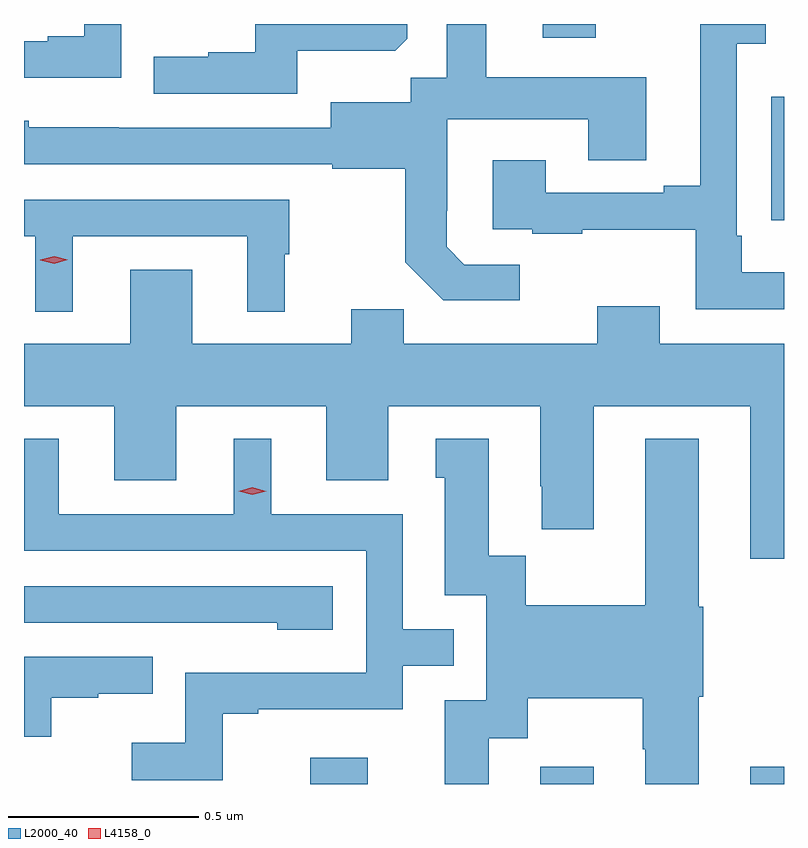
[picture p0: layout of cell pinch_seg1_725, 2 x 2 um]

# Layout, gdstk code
import gdstk
lib = gdstk.Library(unit=1e-6, precision=1e-09)
def R(c, l, rs):  # rectangles x0, y0, x1, y1
    for r in rs: c.add(gdstk.rectangle(r[:2], r[2:], *l))
def P(c, l, *ps):  # polygons
    for p in ps: c.add(gdstk.Polygon(p, *l))
L2000_40 = (2000, 40)
L4158_0 = (4158, 0)

pinch_seg1_725 = lib.new_cell('pinch_seg1_725')
R(pinch_seg1_725, L2000_40, [(670.997,572.05,671.149,572.119), (671.603,572.05,671.743,572.095), (672.155,572.05,672.244,572.095), (672.21,573.533,672.244,573.859), (671.609,574.014,671.749,574.05)])
P(pinch_seg1_725, L2000_40, [(670.5,574.05),(670.402,574.05),(670.402,574.018),(670.307,574.018),(670.307,574.005),(670.244,574.005),(670.244,573.909),(670.5,573.909)],
  [(672.244,573.397),(672.133,573.397),(672.133,573.493),(672.12,573.493),(672.12,573.998),(672.196,573.998),(672.196,574.05),(672.023,574.05),(672.023,573.625),(671.927,573.625),(671.927,573.606),(671.617,573.606),(671.617,573.691),(671.477,573.691),(671.477,573.51),(671.581,573.51),(671.581,573.498),(671.713,573.498),(671.713,573.509),(672.012,573.509),(672.012,573.3),(672.244,573.3)],
  [(671.548,573.417),(671.403,573.417),(671.356,573.464),(671.356,573.559),(671.358,573.559),(671.358,573.8),(671.729,573.8),(671.729,573.691),(671.881,573.691),(671.881,573.91),(671.461,573.91),(671.461,574.05),(671.357,574.05),(671.357,573.908),(671.262,573.908),(671.262,573.844),(671.051,573.844),(671.051,573.777),(670.493,573.777),(670.493,573.778),(670.257,573.778),(670.257,573.796),(670.244,573.796),(670.244,573.681),(671.055,573.681),(671.055,573.669),(671.247,573.669),(671.247,573.423),(671.347,573.323),(671.548,573.323)],
  [(670.963,573.98),(671.221,573.98),(671.253,574.011),(671.253,574.05),(670.853,574.05),(670.853,573.976),(670.729,573.976),(670.729,573.964),(670.585,573.964),(670.585,573.867),(670.963,573.867)],
  [(670.372,573.492),(670.832,573.492),(670.832,573.293),(670.93,573.293),(670.93,573.444),(670.942,573.444),(670.942,573.588),(670.244,573.588),(670.244,573.492),(670.274,573.492),(670.274,573.293),(670.372,573.293)],
  [(671.243,573.299),(671.105,573.299),(671.105,573.208),(670.687,573.208),(670.687,573.403),(670.523,573.403),(670.523,573.208),(670.244,573.208),(670.244,573.044),(670.481,573.044),(670.481,572.85),(670.645,572.85),(670.645,573.044),(671.039,573.044),(671.039,572.85),(671.203,572.85),(671.203,573.044),(671.603,573.044),(671.603,572.833),(671.606,572.833),(671.606,572.721),(671.743,572.721),(671.743,573.044),(672.155,573.044),(672.155,572.643),(672.244,572.643),(672.244,573.208),(671.917,573.208),(671.917,573.307),(671.753,573.307),(671.753,573.208),(671.243,573.208)],
  [(670.767,572.235),(670.861,572.235),(670.861,572.247),(671.241,572.247),(671.241,572.361),(671.375,572.361),(671.375,572.457),(671.241,572.457),(671.241,572.76),(670.894,572.76),(670.894,572.959),(670.796,572.959),(670.796,572.76),(670.336,572.76),(670.336,572.959),(670.244,572.959),(670.244,572.664),(671.145,572.664),(671.145,572.343),(670.668,572.343),(670.668,572.158),(670.527,572.158),(670.527,572.06),(670.767,572.06)],
  [(671.467,572.17),(671.569,572.17),(671.569,572.276),(671.872,572.276),(671.872,572.142),(671.879,572.142),(671.879,572.05),(672.019,572.05),(672.019,572.28),(672.032,572.28),(672.032,572.517),(672.019,572.517),(672.019,572.959),(671.879,572.959),(671.879,572.521),(671.565,572.521),(671.565,572.651),(671.467,572.651),(671.467,572.959),(671.327,572.959),(671.327,572.856),(671.351,572.856),(671.351,572.547),(671.46,572.547),(671.46,572.271),(671.351,572.271),(671.351,572.05),(671.467,572.05)],
  [(671.056,572.571),(670.244,572.571),(670.244,572.475),(670.675,572.475),(670.675,572.474),(670.911,572.474),(670.911,572.456),(671.056,572.456)],
  [(670.316,572.277),(670.439,572.277),(670.439,572.288),(670.583,572.288),(670.583,572.385),(670.244,572.385),(670.244,572.175),(670.316,572.175)])
P(pinch_seg1_725, L4158_0, [(670.323,573.419),(670.287,573.428),(670.287,573.429),(670.287,573.429),(670.323,573.439),(670.359,573.43),(670.359,573.43),(670.359,573.43)],
  [(670.845,572.811),(670.809,572.82),(670.809,572.821),(670.809,572.821),(670.845,572.831),(670.881,572.821),(670.881,572.821),(670.881,572.82)])

lib.write_gds('pinch_seg1_725.gds')
